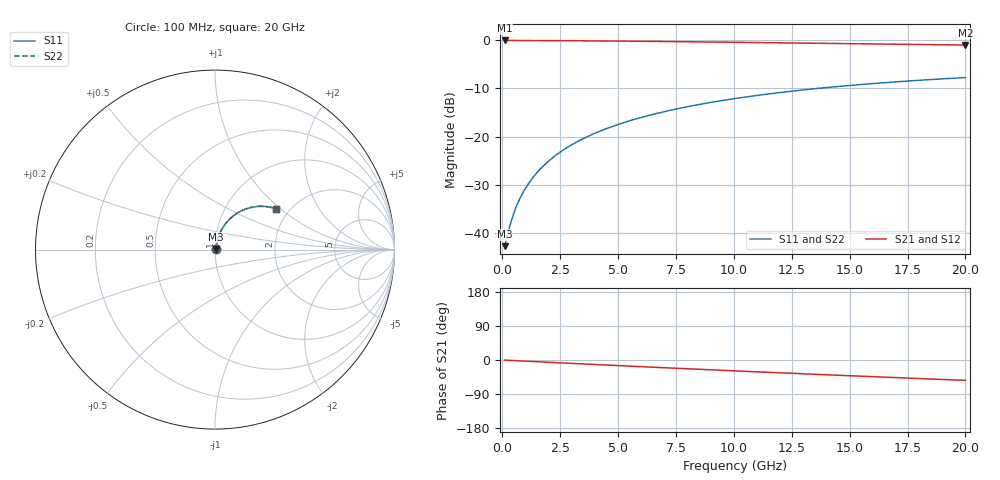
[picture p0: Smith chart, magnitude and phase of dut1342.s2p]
! Touchstone file exported from HFSS 2026.1.0
!  File:  C:/ffzhzh/LocalFiles/Ansys_Project_Files/temp_train_BSMRDL_1342_1783178862_55132.aedt
!  Generated:  11:29:05 PM Jul  4, 2026
!  Design:  BSMRDL
!  Project:  temp_train_BSMRDL_1342_1783178862_55132
! Variables:
!  h_bsmrdl = 4.52um
!  h_ox = 20um
!  h_rdl = 5um
!  h_sub = 80um
!  h_tmrdl = 5um
!  h_tsv = 80um
!  h_via = 3um
!  l_bsmrdl = 892.7um
!  l_sub = 1292.7um
!  l_tmrdl = 200um
!  m_sub = 200um
!  pitch = 24.48um
!  r_tsv = 6um
!  s_tmrdl = 10um
!  w_bsmrdl = 10.34um
!  w_sub = 500um
!  w_tmrdl = 12um
!  x_tsv_center1 = 206um
!  x_tsv_center2 = 1109.04um
!  x_tsv_center3 = 1321.04um
!  x_tsv_center4 = 2224.08um
!  x_tsv_center5 = 2436.08um
!  x_tsv_center6 = 3339.12um
# GHz S MA R 50.000000
! Terminal data exported
! Port[1] = BSM_RDL1_1_T1
! Port[2] = BSM_RDL1_1_T2
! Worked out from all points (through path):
!   200 points, 100 MHz to 20 GHz, reference 50 ohm
!   highest |S21| = -0.06 dB at 100 MHz (marker M1); lowest = -1.0 dB at 20 GHz (marker M2)
!   group delay of S21, straight-line fit = 7.45 ps
!   lowest |S11| = -42.6 dB at 100 MHz (marker M3), VSWR 1.01, Z = 50.7 + j0.303 ohm
!   |S11| at or under -10 dB: start of sweep to 13.6 GHz
!   |S22| runs from -42.6 to -7.7 dB; largest |S21 - S12| = 3.2e-15
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0.1  0.007372 23.9  0.9933 -0.3  0.9933 -0.3  0.007372 23.9
! Gamma 0 0 0 0
! Port Impedance 50 0 50 0
0.3  0.01134 50.7  0.9929 -0.9  0.9929 -0.9  0.01134 50.7
0.4  0.01375 57.1  0.9927 -1.2  0.9927 -1.2  0.01375 57.1
0.5  0.01625 61.5  0.9925 -1.5  0.9925 -1.5  0.01625 61.5
0.6  0.0188 64.6  0.9923 -1.8  0.9923 -1.8  0.0188 64.6
0.7  0.02138 67.0  0.9922 -2.1  0.9922 -2.1  0.02138 67.0
0.9  0.02661 70.2  0.9919 -2.7  0.9919 -2.7  0.02661 70.2
1.2  0.03456 72.9  0.9914 -3.6  0.9914 -3.6  0.03456 72.9
1.4  0.03991 73.9  0.991 -4.2  0.991 -4.2  0.03991 73.9
1.7  0.04796 74.8  0.9904 -5.1  0.9904 -5.1  0.04796 74.8
2.2  0.06137 75.1  0.9893 -6.6  0.9893 -6.6  0.06137 75.1
2.8  0.07736 74.6  0.9876 -8.4  0.9876 -8.4  0.07737 74.6
3.5  0.09577 73.5  0.9852 -10.4  0.9852 -10.4  0.09578 73.5
4.2  0.1138 72.0  0.9825 -12.4  0.9825 -12.4  0.1139 72.0
5  0.134 70.1  0.9789 -14.7  0.9789 -14.7  0.134 70.1
5.9  0.1561 67.8  0.9746 -17.3  0.9746 -17.3  0.1561 67.8
6.8  0.1775 65.6  0.9699 -19.8  0.9699 -19.8  0.1775 65.5
8.3  0.2115 61.7  0.9615 -24.0  0.9615 -24.0  0.2116 61.7
10.1  0.2498 57.2  0.9508 -28.9  0.9508 -28.9  0.2499 57.1
13.4  0.3127 49.0  0.9302 -37.5  0.9302 -37.5  0.3128 48.9
16.7  0.3661 41.1  0.9097 -45.8  0.9097 -45.8  0.3661 41.0
20  0.4099 33.5  0.8906 -53.7  0.8906 -53.7  0.41 33.4
